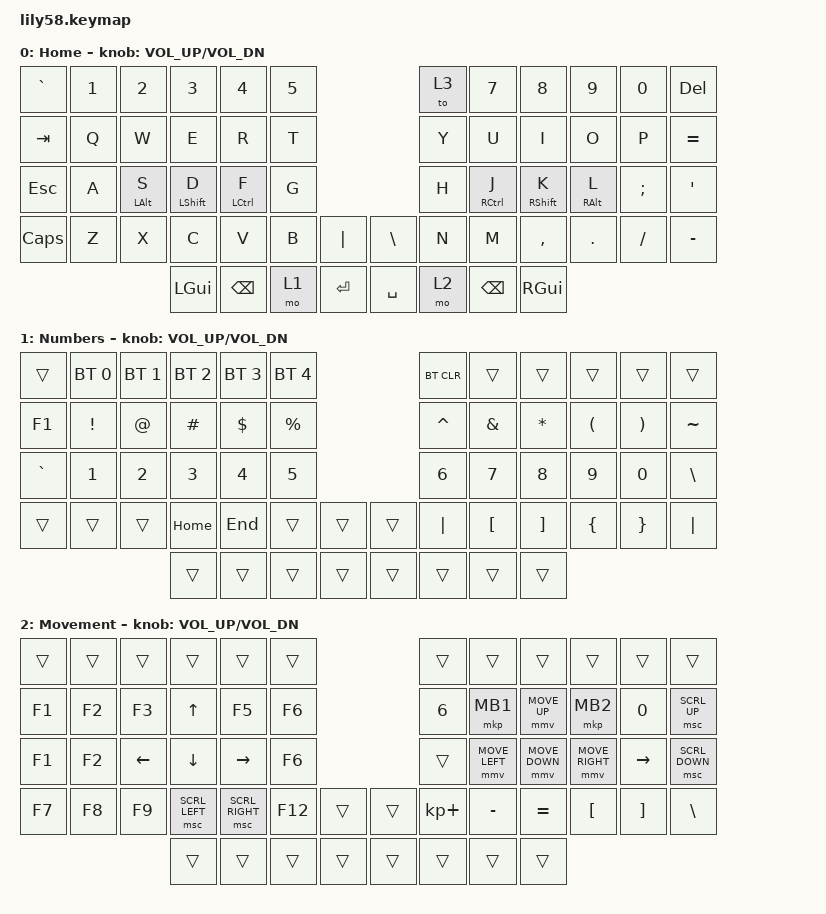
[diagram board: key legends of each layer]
/*
 * Copyright (c) 2020 The ZMK Contributors
 *
 * SPDX-License-Identifier: MIT
 */

#define ZMK_POINTING_DEFAULT_MOVE_VAL 1750  // default: 600
#define ZMK_POINTING_DEFAULT_SCRL_VAL 25    // default: 10

#include <behaviors.dtsi>
#include <dt-bindings/zmk/bt.h>
#include <dt-bindings/zmk/keys.h>
#include <dt-bindings/zmk/pointing.h>

/ {
    behaviors {
        longPress: longPress {
            compatible = "zmk,behavior-hold-tap";
            label = "LONGPRESS";
            bindings = <&kp>, <&kp>;

            #binding-cells = <2>;
            tapping-term-ms = <175>;
            flavor = "tap-preferred";
        };

        esc_layer_3_tog: esc_layer_3_tog {
            compatible = "zmk,behavior-tap-dance";
            label = "ESC_LAYER_3_TOG";
            #binding-cells = <0>;
            bindings = <&kp ESC>, <&to 3>;

            tapping-term-ms = <300>;
        };
    };

    combos { compatible = "zmk,combos"; };

    keymap {
        compatible = "zmk,keymap";

        Home {
            // ------------------------------------------------------------------------------------------------------------
            // |  ESC  |  1  |  2  |  3   |  4   |  5   |                   |  6   |  7    |  8    |  9   |   0   |   `   |
            // |  TAB  |  Q  |  W  |  E   |  R   |  T   |                   |  Y   |  U    |  I    |  O   |   P   |   -   |
            // |  CTRL |  A  |  S  |  D   |  F   |  G   |                   |  H   |  J    |  K    |  L   |   ;   |   '   |
            // | SHIFT |  Z  |  X  |  C   |  V   |  B   |   "["  |  |  "]"  |  N   |  M    |  ,    |  .   |   /   | SHIFT |
            //                     | ALT  | GUI  | LOWER|  SPACE |  | ENTER | RAISE| BSPC  | GUI   |

            display-name = "Home";
            bindings = <
&kp GRAVE   &kp N1  &kp N2                 &kp N3                   &kp N4                     &kp N5                               &to 3  &kp N7                      &kp N8                    &kp N9                  &kp N0    &kp DEL
&kp TAB     &kp Q   &kp W                  &kp E                    &kp R                      &kp T                                &kp Y  &kp U                       &kp I                     &kp O                   &kp P     &kp EQUAL
&kp ESCAPE  &kp A   &longPress LEFT_ALT S  &longPress LEFT_SHIFT D  &longPress LEFT_CONTROL F  &kp G                                &kp H  &longPress RIGHT_CONTROL J  &longPress RIGHT_SHIFT K  &longPress RIGHT_ALT L  &kp SEMI  &kp SQT
&kp CAPS    &kp Z   &kp X                  &kp C                    &kp V                      &kp B   &kp PIPE      &kp BACKSLASH  &kp N  &kp M                       &kp COMMA                 &kp DOT                 &kp FSLH  &kp MINUS
                                           &kp LGUI                 &kp BACKSPACE              &mo 1   &kp RETURN    &kp SPACE      &mo 2  &kp BSPC                    &kp RGUI
            >;

            sensor-bindings = <&inc_dec_kp C_VOL_UP C_VOL_DN>;
        };

        numbers_symbols {
            // ------------------------------------------------------------------------------------------------------------
            // | BTCLR | BT1 | BT2 |  BT3 |  BT4 |  BT5 |                   |      |       |       |      |       |       |
            // |  F1   |  F2 |  F3 |  F4  |  F5  |  F6  |                   |  F7  |  F8   |  F9   |  F10 |  F11  |  F12  |
            // |   `   |  !  |  @  |  #   |  $   |  %   |                   |  ^   |  &    |  *    |  (   |   )   |   ~   |
            // |       |     |     |      |      |      |        |  |       |      |  _    |  +    |  {   |   }   |  "|"  |
            //                     |      |      |      |        |  |       |      |       |       |

            display-name = "Numbers";
            bindings = <
&trans      &bt BT_SEL 0  &bt BT_SEL 1  &bt BT_SEL 2  &bt BT_SEL 3  &bt BT_SEL 4                    &bt BT_CLR    &trans            &trans             &trans                &trans                 &trans
&kp F1      &kp EXCL      &kp AT_SIGN   &kp HASH      &kp DOLLAR    &kp PERCENT                     &kp CARET     &kp AMPERSAND     &kp ASTERISK       &kp LEFT_PARENTHESIS  &kp RIGHT_PARENTHESIS  &kp TILDE
&kp GRAVE   &kp NUMBER_1  &kp NUMBER_2  &kp NUMBER_3  &kp NUMBER_4  &kp N5                          &kp NUMBER_6  &kp N7            &kp N8             &kp N9                &kp N0                 &kp BACKSLASH
&trans      &trans        &trans        &kp HOME      &kp END       &trans        &trans    &trans  &kp PIPE      &kp LEFT_BRACKET  &kp RIGHT_BRACKET  &kp LBRC              &kp RBRC               &kp PIPE
                                        &trans        &trans        &trans        &trans    &trans  &trans        &trans            &trans
            >;

            sensor-bindings = <&inc_dec_kp C_VOL_UP C_VOL_DN>;
        };

        movement {
            // ------------------------------------------------------------------------------------------------------------
            // |       |     |     |      |      |      |                   |      |       |       |      |       |       |
            // |   `   |  1  |  2  |  3   |  4   |  5   |                   |  6   |   7   |   8   |  9   |   0   |       |
            // |   F1  |  F2 |  F3 |  F4  |  F5  |  F6  |                   |      |   <-  |   v   |  ^   |  ->   |       |
            // |   F7  |  F8 |  F9 |  F10 |  F11 |  F12 |        |  |       |  +   |   -   |   =   |  [   |   ]   |   \   |
            //                     |      |      |      |        |  |       |      |       |       |

            display-name = "Movement";
            bindings = <
&trans  &trans  &trans    &trans          &trans           &trans                     &trans       &trans          &trans          &trans           &trans     &trans
&kp F1  &kp F2  &kp F3    &kp UP_ARROW    &kp F5           &kp F6                     &kp N6       &mkp MB1        &mmv MOVE_UP    &mkp MB2         &kp N0     &msc SCRL_UP
&kp F1  &kp F2  &kp LEFT  &kp DOWN_ARROW  &kp RIGHT        &kp F6                     &trans       &mmv MOVE_LEFT  &mmv MOVE_DOWN  &mmv MOVE_RIGHT  &kp RIGHT  &msc SCRL_DOWN
&kp F7  &kp F8  &kp F9    &msc SCRL_LEFT  &msc SCRL_RIGHT  &kp F12  &trans    &trans  &kp KP_PLUS  &kp MINUS       &kp EQUAL       &kp LBKT         &kp RBKT   &kp BSLH
                          &trans          &trans           &trans   &trans    &trans  &trans       &trans          &trans
            >;

            sensor-bindings = <&inc_dec_kp C_VOL_UP C_VOL_DN>;
        };

        extra_1 { status = "reserved"; };
        
        extra_2 { status = "reserved"; };

        extra_3 { status = "reserved"; };
    };
};
